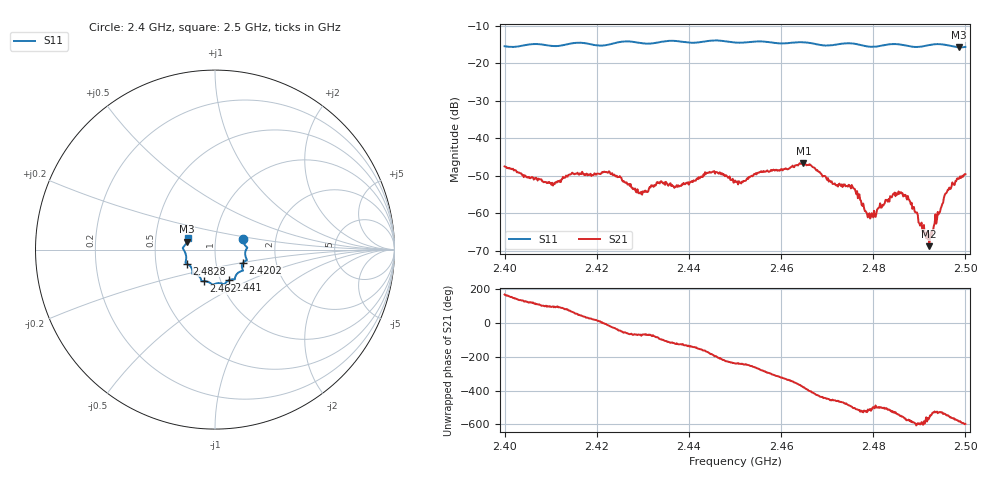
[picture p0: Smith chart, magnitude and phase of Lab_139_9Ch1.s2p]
# Hz S RI R 50
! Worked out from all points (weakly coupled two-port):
!   601 points, 2.4 GHz to 2.5 GHz, reference 50 ohm
!   highest |S21| = -46.54 dB at 2.4648 GHz (marker M1); lowest = -68.7 dB at 2.4922 GHz (marker M2)
!   lowest |S11| = -15.8 dB at 2.4987 GHz (marker M3), VSWR 1.39, Z = 36.3 + j3.26 ohm
!   |S11| at or under -10 dB: start of sweep to end of sweep
!   S12 and S22 are empty: the file has one direction only
!   S11 on the Smith chart (normalised r, x): 2.4 GHz: 1.36, +0.17; 2.4202 GHz: 1.36, -0.20; 2.441 GHz: 1.10, -0.39; 2.462 GHz: 0.83, -0.30; 2.4828 GHz: 0.72, -0.12; 2.5 GHz: 0.73, +0.09
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2.4e9  0.1571 0.0608  -0.00414 0.000844  0 0  0 0
2.410333e9  0.1694 -0.0108  -0.000294 0.00254  0 0  0 0
2.416667e9  0.1776 -0.0591  0.0024 0.00231  0 0  0 0
2.420167e9  0.1569 -0.072  0.00331 0.000756  0 0  0 0
2.424833e9  0.1544 -0.1122  0.00218 -0.00214  0 0  0 0
2.4295e9  0.1399 -0.1225  0.000662 -0.00172  0 0  0 0
2.433333e9  0.1127 -0.1521  0.000159 -0.00254  0 0  0 0
2.441e9  0.0773 -0.1705  -0.0022 -0.00166  0 0  0 0
2.445e9  0.0537 -0.193  -0.00354 0.000335  0 0  0 0
2.45e9  0.0271 -0.1867  -0.00142 0.00234  0 0  0 0
2.462e9  -0.0613 -0.1761  0.00382 0.00142  0 0  0 0
2.464833e9  -0.0749 -0.1751  0.0044 -0.00167  0 0  0 0
2.466667e9  -0.0776 -0.1673  0.00265 -0.00334  0 0  0 0
2.4755e9  -0.1263 -0.1328  -0.00175 -0.00145  0 0  0 0
2.479e9  -0.1301 -0.1042  -0.000901 -0.000361  0 0  0 0
2.482833e9  -0.1579 -0.0778  -0.00122 -0.000896  0 0  0 0
2.483333e9  -0.1608 -0.0766  -0.00137 -0.000722  0 0  0 0
2.487167e9  -0.1614 -0.0579  -0.00133 0.000959  0 0  0 0
2.492167e9  -0.1749 -0.00123  -0.000341 0.000132  0 0  0 0
2.495833e9  -0.1742 0.0158  -0.00185 0.000181  0 0  0 0
2.498667e9  -0.1567 0.0437  -0.00214 0.00202  0 0  0 0
2.5e9  -0.1532 0.062  -0.00178 0.00281  0 0  0 0
